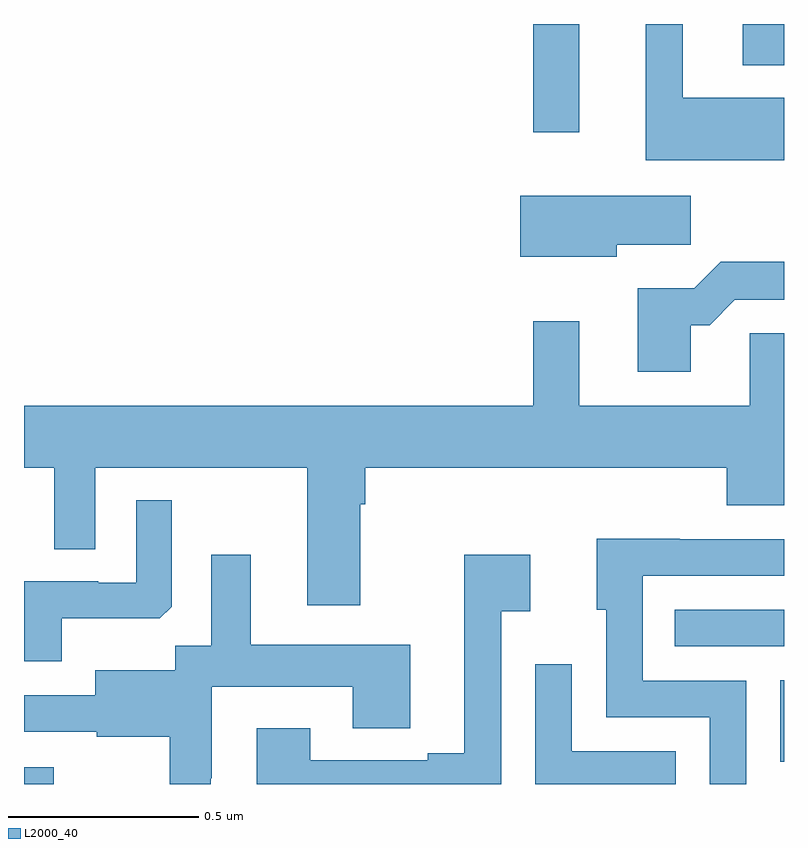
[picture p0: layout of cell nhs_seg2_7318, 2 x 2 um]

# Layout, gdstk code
import gdstk
lib = gdstk.Library(unit=1e-6, precision=1e-09)
def R(c, l, rs):  # rectangles x0, y0, x1, y1
    for r in rs: c.add(gdstk.rectangle(r[:2], r[2:], *l))
def P(c, l, *ps):  # polygons
    for p in ps: c.add(gdstk.Polygon(p, *l))
L2000_40 = (2000, 40)

nhs_seg2_7318 = lib.new_cell('nhs_seg2_7318')
R(nhs_seg2_7318, L2000_40, [(202,650.8,202.078,650.844), (203.99,650.858,204,651.073), (203.713,651.162,204,651.258), (203.34,652.515,203.461,652.8), (203.891,652.691,204,652.8)])
P(nhs_seg2_7318, L2000_40, [(204,652.606),(203.734,652.606),(203.734,652.8),(203.636,652.8),(203.636,652.442),(204,652.442)],
  [(203.56,652.219),(203.755,652.219),(203.755,652.348),(203.306,652.348),(203.306,652.187),(203.56,652.187)],
  [(203.755,652.007),(203.804,652.007),(203.871,652.074),(204,652.074),(204,652.175),(203.834,652.175),(203.764,652.105),(203.615,652.105),(203.615,651.885),(203.755,651.885)],
  [(202.885,651.536),(202.898,651.536),(202.898,651.632),(203.849,651.632),(203.849,651.533),(204,651.533),(204,651.986),(203.91,651.986),(203.91,651.796),(203.461,651.796),(203.461,652.018),(203.34,652.018),(203.34,651.796),(202,651.796),(202,651.632),(202.08,651.632),(202.08,651.418),(202.188,651.418),(202.188,651.632),(202.745,651.632),(202.745,651.27),(202.885,651.27)],
  [(202.099,651.236),(202.357,651.236),(202.389,651.267),(202.389,651.547),(202.296,651.547),(202.296,651.33),(202.196,651.33),(202.196,651.333),(202,651.333),(202,651.123),(202.099,651.123)],
  [(203.901,651.072),(203.628,651.072),(203.628,651.348),(204,651.348),(204,651.444),(203.725,651.444),(203.725,651.446),(203.507,651.446),(203.507,651.258),(203.532,651.258),(203.532,650.976),(203.805,650.976),(203.805,650.8),(203.901,650.8)],
  [(202.492,650.815),(202.494,650.815),(202.494,651.056),(202.865,651.056),(202.865,650.947),(203.017,650.947),(203.017,651.166),(202.597,651.166),(202.597,651.403),(202.493,651.403),(202.493,651.164),(202.398,651.164),(202.398,651.1),(202.187,651.1),(202.187,651.033),(202,651.033),(202,650.937),(202.191,650.937),(202.191,650.925),(202.383,650.925),(202.383,650.8),(202.492,650.8)],
  [(203.256,651.254),(203.332,651.254),(203.332,651.403),(203.159,651.403),(203.159,650.881),(203.063,650.881),(203.063,650.862),(202.753,650.862),(202.753,650.947),(202.613,650.947),(202.613,650.8),(203.256,650.8)],
  [(203.715,650.886),(203.442,650.886),(203.442,651.115),(203.346,651.115),(203.346,650.8),(203.715,650.8)])

lib.write_gds('nhs_seg2_7318.gds')
